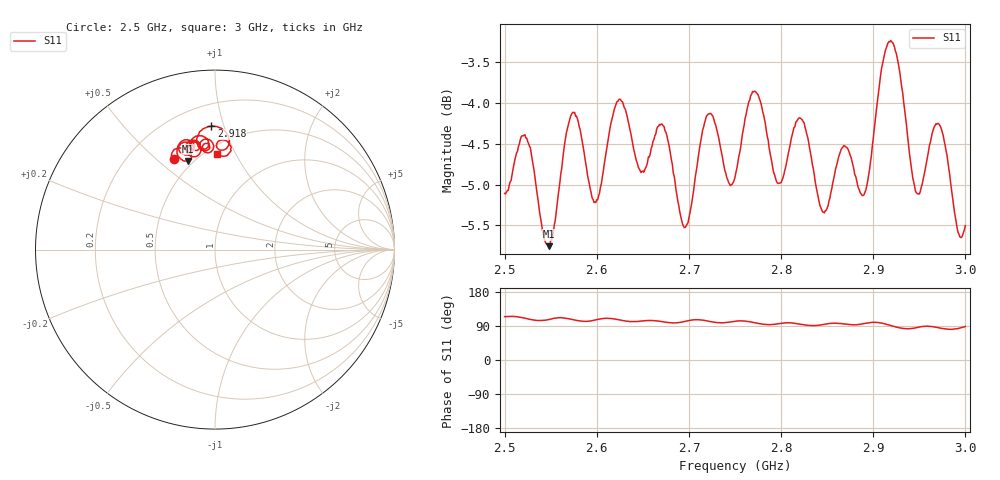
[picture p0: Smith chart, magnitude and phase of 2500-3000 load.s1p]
! NanoVNA-App by SYSJOINT et al v1.1.209 (+OD18)
! Date: 2025-09-17 10:38:50
! Start: 2.5GHz Stop: 3GHz Points: 501
! S-Parameter data: F S11
# Hz S RI R 50
!  Frequency  S11_Real  S11_Imag
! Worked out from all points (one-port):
!   501 points, 2.5 GHz to 3 GHz, reference 50 ohm
!   lowest |S11| = -5.8 dB at 2.548 GHz (marker M1), VSWR 3.13, Z = 23.5 + j31.6 ohm
!   |S11| at or under -10 dB: nowhere
!   S11 on the Smith chart (normalised r, x): 2.5 GHz: 0.39, +0.57; 2.918 GHz: 0.35, +0.91; 3 GHz: 0.57, +0.85
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2.5e9  -0.2295 0.5057
2.526e9  -0.1834 0.5668
2.548e9  -0.1486 0.4937
2.563e9  -0.2113 0.5425
2.576e9  -0.1662 0.5998
2.588e9  -0.1195 0.5669
2.603e9  -0.1703 0.5288
2.625e9  -0.1674 0.6117
2.65e9  -0.1315 0.5578
2.673e9  -0.1104 0.6002
2.688e9  -0.0806 0.5431
2.709e9  -0.1619 0.5549
2.725e9  -0.1144 0.6094
2.75e9  -0.1188 0.5556
2.771e9  -0.0949 0.6341
2.787e9  -0.0331 0.5914
2.813e9  -0.0785 0.6007
2.834e9  -0.00651 0.5781
2.857e9  -0.069 0.5623
2.875e9  -0.0351 0.5849
2.891e9  -0.0646 0.5525
2.903e9  -0.1015 0.6132
2.918e9  -0.0208 0.687
2.938e9  0.0802 0.5916
2.958e9  0.0071 0.5806
2.971e9  0.0521 0.6103
2.984e9  0.0869 0.5567
3e9  0.013 0.5306
